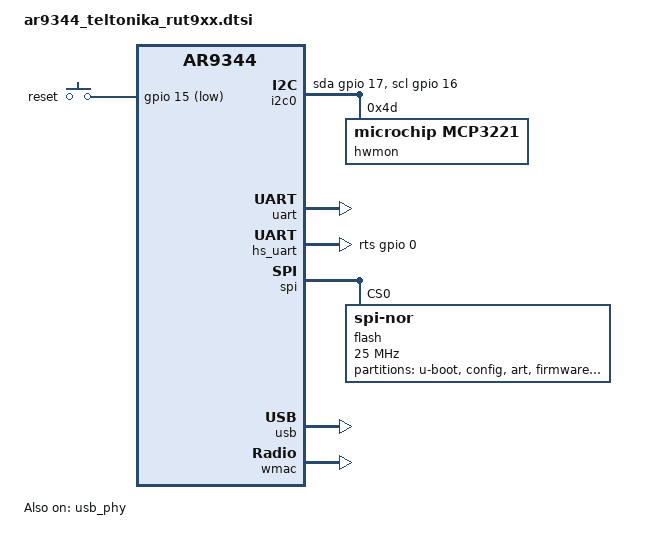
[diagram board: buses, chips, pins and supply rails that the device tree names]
// SPDX-License-Identifier: GPL-2.0-or-later OR MIT
/dts-v1/;

#include <dt-bindings/gpio/gpio.h>
#include <dt-bindings/input/input.h>

#include "ar9344.dtsi"

/ {
	compatible = "teltonika,rut9xx", "qca,ar9344";

	aliases {
		serial0 = &uart;
		serial1 = &hs_uart;
		label-mac-device = &eth1;
	};

	i2c0: i2c {
		compatible = "i2c-gpio";
		scl-gpios = <&gpio 16 (GPIO_ACTIVE_HIGH|GPIO_OPEN_DRAIN)>;
		sda-gpios = <&gpio 17 (GPIO_ACTIVE_HIGH|GPIO_OPEN_DRAIN)>;
		#address-cells = <1>;
		#size-cells = <0>;

		hwmon@4d {
			compatible = "microchip,mcp3221";
			reg = <0x4d>;
		};
	};

	keys {
		compatible = "gpio-keys";

		reset {
			label = "reset";
			linux,code = <KEY_RESTART>;
			gpios = <&gpio 15 GPIO_ACTIVE_LOW>;
			debounce-interval = <60>;
		};
	};
};

&ref {
	clock-frequency = <40000000>;
};

&uart {
	status = "okay";
};

&hs_uart {
	status = "okay";

	pinctrl-names = "default";
	pinctrl-0 = <&pmx_uart2>;

	rts-gpios = <&gpio 0 GPIO_ACTIVE_HIGH>;
	rs485-rts-active-low;
	linux,rs485-enabled-at-boot-time;
};

&spi {
	status = "okay";
	num-cs = <2>;
	pinctrl-names = "default";
	pinctrl-0 = <&pmx_spi>;

	flash@0 {
		compatible = "jedec,spi-nor";
		reg = <0>;
		spi-max-frequency = <25000000>;

		partitions {
			compatible = "fixed-partitions";
			#address-cells = <1>;
			#size-cells = <1>;

			partition@0 {
				label = "u-boot";
				reg = <0x0 0x20000>;
				read-only;
			};

			config: partition@20000 {
				label = "config";
				reg = <0x20000 0x10000>;
				read-only;
			};

			art: partition@30000 {
				label = "art";
				reg = <0x30000 0x10000>;
				read-only;
			};

			partition@40000 {
				label = "firmware";
				reg = <0x40000 0xf30000>;
				compatible = "tplink,firmware";
			};

			partition@f70000 {
				label = "event-log";
				reg = <0xf70000 0x90000>;
				read-only;
			};
		};
	};

	microsd@1 {
		status = "disabled";

		compatible = "mmc-spi-slot";
		spi-max-frequency = <25000000>;
		reg = <1>;
		voltage-ranges = <3200 3400>;
		broken-cd;
	};
};

&usb {
	#address-cells = <1>;
	#size-cells = <0>;
	status = "okay";

	port@1 {
		#address-cells = <1>;
		#size-cells = <0>;
		reg = <1>;

		port@1 {
			compatible = "usb-a-connector";
			reg = <1>;
		};

		port@3 {
			label = "RS-232 serial adapter";
			reg = <3>;
		};

		port@4 {
			label = "internal wwan modem";
			reg = <4>;
		};
	};
};

&usb_phy {
	status = "okay";
};

&wmac {
	status = "okay";

	mtd-cal-data = <&art 0x1000>;
	mtd-mac-address = <&config 0x0>;
	mtd-mac-address-increment = <2>;
};

&pinmux {
	pmx_spi: spi {
		// SPI_CS1 on GPIO 3
		pinctrl-single,bits = <0x0 0x07000000 0xff000000>;
	};

	pmx_leds_switch: leds_switch {
		// switch port LEDs on GPIO 1, GPIO 13, GPIO 14 and GPIO 22
		pinctrl-single,bits =  <0x0 0x00002d00 0x0000ff00>,
					<0xc 0x002c2b00 0x00ffff00>,
					<0x14 0x002a0000 0x00ff0000>;
	};

	pmx_uart2: uart2 {
		// UART1_DTR on GPIO 0, UART1_RD on GPIO 11, UART1_TD on GPIO 18
		pinctrl-single,bits = <0x0 0x0 0xff>,
				<0x10 0x4f000000 0xff000000>,
				<0x3c 0x000b0000 0x00ff0000>;
	};
};
